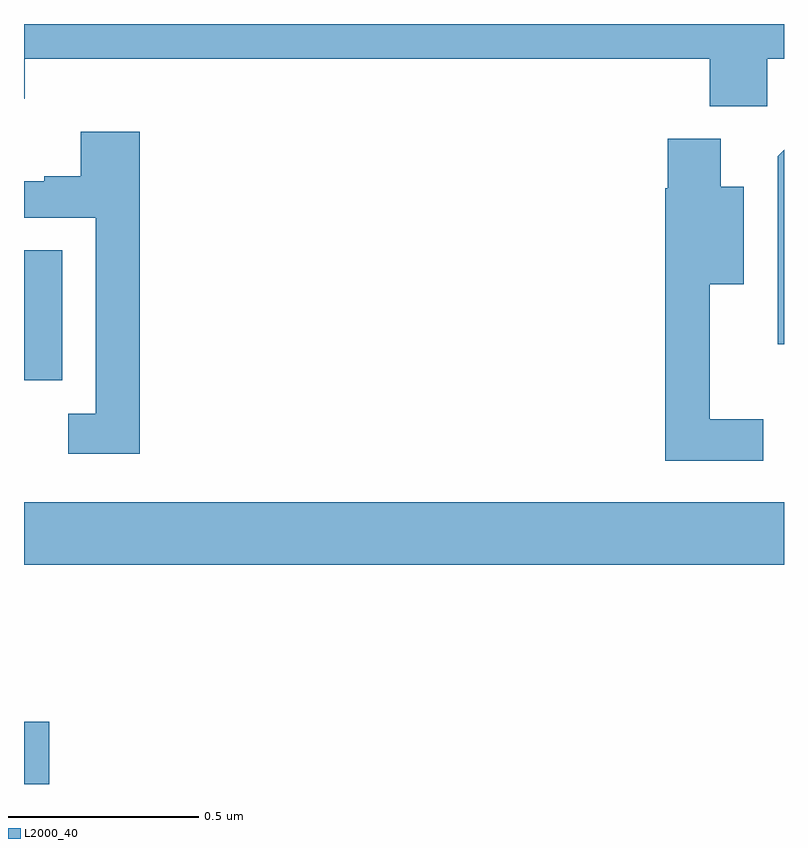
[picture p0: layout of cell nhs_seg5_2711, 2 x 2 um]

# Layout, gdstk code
import gdstk
lib = gdstk.Library(unit=1e-6, precision=1e-09)
def R(c, l, rs):  # rectangles x0, y0, x1, y1
    for r in rs: c.add(gdstk.rectangle(r[:2], r[2:], *l))
def P(c, l, *ps):  # polygons
    for p in ps: c.add(gdstk.Polygon(p, *l))
L2000_40 = (2000, 40)

nhs_seg5_2711 = lib.new_cell('nhs_seg5_2711')
R(nhs_seg5_2711, L2000_40, [(147,906.799,147.067,906.963), (147,907.376,149,907.54), (147,907.861,147.1,908.204)])
P(nhs_seg5_2711, L2000_40, [(148.956,908.708),(149,908.708),(149,908.799),(147,908.799),(147,908.602),(147.002,908.602),(147.002,908.708),(148.805,908.708),(148.805,908.582),(148.956,908.582)],
  [(147.305,908.515),(147.149,908.515),(147.149,908.398),(147.053,908.398),(147.053,908.385),(147,908.385),(147,908.289),(147.189,908.289),(147.189,907.773),(147.117,907.773),(147.117,907.668),(147.305,907.668)],
  [(148.945,907.759),(148.805,907.759),(148.805,908.114),(148.894,908.114),(148.894,908.371),(148.834,908.371),(148.834,908.497),(148.694,908.497),(148.694,908.367),(148.687,908.367),(148.687,907.65),(148.945,907.65)],
  [(149,908.468),(148.983,908.451),(148.983,907.956),(149,907.956)])

lib.write_gds('nhs_seg5_2711.gds')
